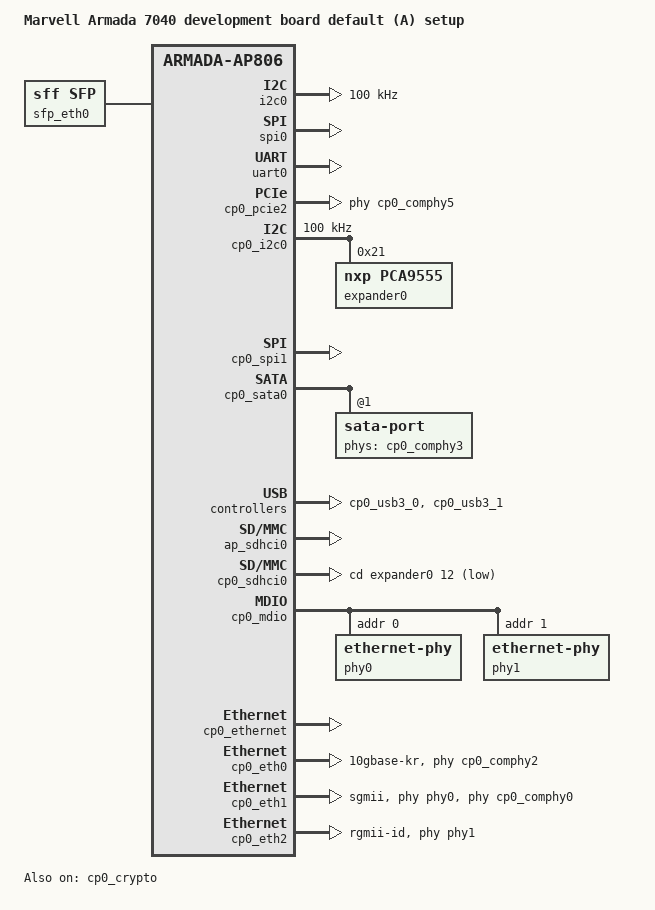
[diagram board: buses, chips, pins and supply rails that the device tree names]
// SPDX-License-Identifier: (GPL-2.0+ OR MIT)
/*
 * Copyright (C) 2016 Marvell Technology Group Ltd.
 *
 * Device Tree file for Marvell Armada 7040 Development board platform
 */

#include <dt-bindings/gpio/gpio.h>
#include "armada-7040-db.dtsi"

/ {
	model = "Marvell Armada 7040 development board default (A) setup";
	compatible = "marvell,armada7040-db-default", "marvell,armada7040-db",
		     "marvell,armada7040", "marvell,armada-ap806-quad",
		     "marvell,armada-ap806";

	chosen {
		stdout-path = "serial0:115200n8";
	};

	aliases {
		ethernet0 = &cp0_eth0;
		ethernet1 = &cp0_eth1;
		ethernet2 = &cp0_eth2;
	};

	sfp_eth0: sfp-eth0 {
		compatible = "sff,sfp";
	};
};

&i2c0 {
	status = "okay";
	clock-frequency = <100000>;
};

&spi0 {
	status = "okay";
};

&uart0 {
	status = "okay";
};


&cp0_pcie2 {
	status = "okay";
	phys = <&cp0_comphy5 2>;
};

&cp0_i2c0 {
	status = "okay";
	clock-frequency = <100000>;

	expander0: pca9555@21 {
		compatible = "nxp,pca9555";
		pinctrl-names = "default";
		gpio-controller;
		#gpio-cells = <2>;
		reg = <0x21>;
		/*
		 * IO0_0: USB3_PWR_EN0	IO1_0: USB_3_1_Dev_Detect
		 * IO0_1: USB3_PWR_EN1	IO1_1: USB2_1_current_limit
		 * IO0_2: DDR3_4_Detect	IO1_2: Hcon_IO_RstN
		 * IO0_3: USB2_DEVICE_DETECT
		 * IO0_4: GPIO_0	IO1_4: SD_Status
		 * IO0_5: GPIO_1	IO1_5: LDO_5V_Enable
		 * IO0_6: IHB_5V_Enable	IO1_6: PWR_EN_eMMC
		 * IO0_7:		IO1_7: SDIO_Vcntrl
		 */
	};
};

&cp0_nand_controller {
	/*
	 * SPI on CPM and NAND have common pins on this board. We can
	 * use only one at a time. To enable the NAND (which will
	 * disable the SPI), the "status = "okay";" line have to be
	 * added here.
	 */
	pinctrl-0 = <&nand_pins>, <&nand_rb>;
	pinctrl-names = "default";

};

&cp0_spi1 {
	status = "okay";
};

&cp0_sata0 {
	status = "okay";

	sata-port@1 {
		status = "okay";
		/* Generic PHY, providing serdes lanes */
		phys = <&cp0_comphy3 1>;
	};
};

&cp0_usb3_0 {
	status = "okay";
};

&cp0_usb3_1 {
	status = "okay";
};

&ap_sdhci0 {
	status = "okay";
};

&cp0_sdhci0 {
	status = "okay";
	cd-gpios = <&expander0 12 GPIO_ACTIVE_LOW>;
};

&cp0_mdio {
	status = "okay";

	phy0: ethernet-phy@0 {
		reg = <0>;
	};
	phy1: ethernet-phy@1 {
		reg = <1>;
	};
};

&cp0_ethernet {
	status = "okay";
};

&cp0_eth0 {
	status = "okay";
	/* Network PHY */
	phy-mode = "10gbase-kr";
	/* Generic PHY, providing serdes lanes */
	phys = <&cp0_comphy2 0>;
	managed = "in-band-status";
	sfp = <&sfp_eth0>;
};

&cp0_eth1 {
	status = "okay";
	/* Network PHY */
	phy = <&phy0>;
	phy-mode = "sgmii";
	/* Generic PHY, providing serdes lanes */
	phys = <&cp0_comphy0 1>;
};

&cp0_eth2 {
	status = "okay";
	phy = <&phy1>;
	phy-mode = "rgmii-id";
};

&cp0_crypto {
	status = "okay";
};
